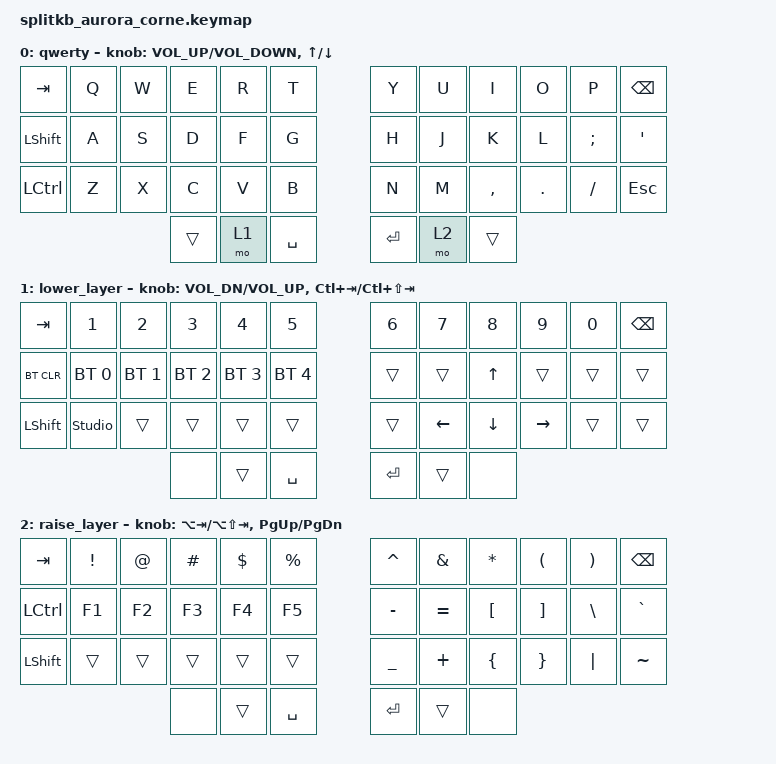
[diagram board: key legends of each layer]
/*
 * Copyright (c) 2020 The ZMK Contributors
 *
 * SPDX-License-Identifier: MIT
 */

#include <behaviors.dtsi>
#include <dt-bindings/zmk/bt.h>
#include <dt-bindings/zmk/keys.h>

&led_strip { chain-length = <13>; };

/ {
    combos {
        compatible = "zmk,combos";

        escape {
            bindings = <&kp ESC>;
            key-positions = <1 2>;
        };

        supper {
            bindings = <&kp LGUI>;
            key-positions = <25 26>;
        };

        alt {
            bindings = <&kp LEFT_ALT>;
            key-positions = <27 28>;
        };

        layar_tog {
            bindings = <&tog 1>;
            key-positions = <37 40>;
        };

        del {
            bindings = <&kp DEL>;
            key-positions = <9 10>;
        };

        previous {
            bindings = <&kp C_PREV>;
            key-positions = <10 11 10 11 10 11>;
        };

        pause {
            bindings = <&kp C_PLAY_PAUSE>;
            key-positions = <22 23>;
        };

        next {
            bindings = <&kp C_NEXT>;
            key-positions = <34 35>;
        };

        Fquit {
            bindings = <&kp LA(F4)>;
            key-positions = <4 5 6 7>;
        };
    };

    keymap {
        compatible = "zmk,keymap";

        qwerty {
            bindings = <
&kp TAB    &kp Q  &kp W  &kp E   &kp R  &kp T        &kp Y      &kp U  &kp I      &kp O    &kp P     &kp BSPC
&kp LSHFT  &kp A  &kp S  &kp D   &kp F  &kp G        &kp H      &kp J  &kp K      &kp L    &kp SEMI  &kp APOS
&kp LCTRL  &kp Z  &kp X  &kp C   &kp V  &kp B        &kp N      &kp M  &kp COMMA  &kp DOT  &kp FSLH  &kp ESC
                         &trans  &mo 1  &kp SPACE    &kp ENTER  &mo 2  &trans
            >;

            sensor-bindings =
                <&inc_dec_kp C_VOLUME_UP C_VOLUME_DOWN>,
                <&inc_dec_kp UP DOWN>;
        };

        lower_layer {
            // -----------------------------------------------------------------------------------------
            // |  TAB |  1  |  2  |  3  |  4  |  5  |   |  6  |  7  |  8  |  9  |  0  | BSPC |
            // | BTCLR| BT1 | BT2 | BT3 | BT4 | BT5 |   |     |     |  UP |     |     |      |
            // | SHFT |STUNL|     |     |     |     |   |     | LFT | DWN | RGT |     |      |
            //                    | GUI |     | SPC |   | ENT |     | ALT |

            bindings = <
&kp TAB     &kp N1          &kp N2        &kp N3        &kp N4        &kp N5          &kp N6   &kp N7    &kp N8    &kp N9     &kp N0  &kp BSPC
&bt BT_CLR  &bt BT_SEL 0    &bt BT_SEL 1  &bt BT_SEL 2  &bt BT_SEL 3  &bt BT_SEL 4    &trans   &trans    &kp UP    &trans     &trans  &trans
&kp LSHFT   &studio_unlock  &trans        &trans        &trans        &trans          &trans   &kp LEFT  &kp DOWN  &kp RIGHT  &trans  &trans
                                          &none         &trans        &kp SPACE       &kp RET  &trans    &none
            >;

            sensor-bindings = <&inc_dec_kp C_VOL_DN C_VOL_UP &inc_dec_kp LC(TAB) LC(LS(TAB))>;
        };

        raise_layer {
            // -----------------------------------------------------------------------------------------
            // |  TAB |  !  |  @  |  #  |  $  |  %  |   |  ^  |  &  |  *  |  (  |  )  | BSPC |
            // | CTRL |     |     |     |     |     |   |  -  |  =  |  [  |  ]  |  \  |  `   |
            // | SHFT |     |     |     |     |     |   |  _  |  +  |  {  |  }  | "|" |  ~   |
            //                    | GUI |     | SPC |   | ENT |     | ALT |

            bindings = <
&kp TAB    &kp EXCL  &kp AT  &kp HASH  &kp DLLR  &kp PRCNT    &kp CARET  &kp AMPS   &kp ASTRK  &kp LPAR  &kp RPAR  &kp BSPC
&kp LCTRL  &kp F1    &kp F2  &kp F3    &kp F4    &kp F5       &kp MINUS  &kp EQUAL  &kp LBKT   &kp RBKT  &kp BSLH  &kp GRAVE
&kp LSHFT  &trans    &trans  &trans    &trans    &trans       &kp UNDER  &kp PLUS   &kp LBRC   &kp RBRC  &kp PIPE  &kp TILDE
                             &none     &trans    &kp SPACE    &kp RET    &trans     &none
            >;

            sensor-bindings = <&inc_dec_kp LA(TAB) LA(LS(TAB)) &inc_dec_kp PG_UP PG_DN>;
        };
    };
};

&studio_unlock {
};
